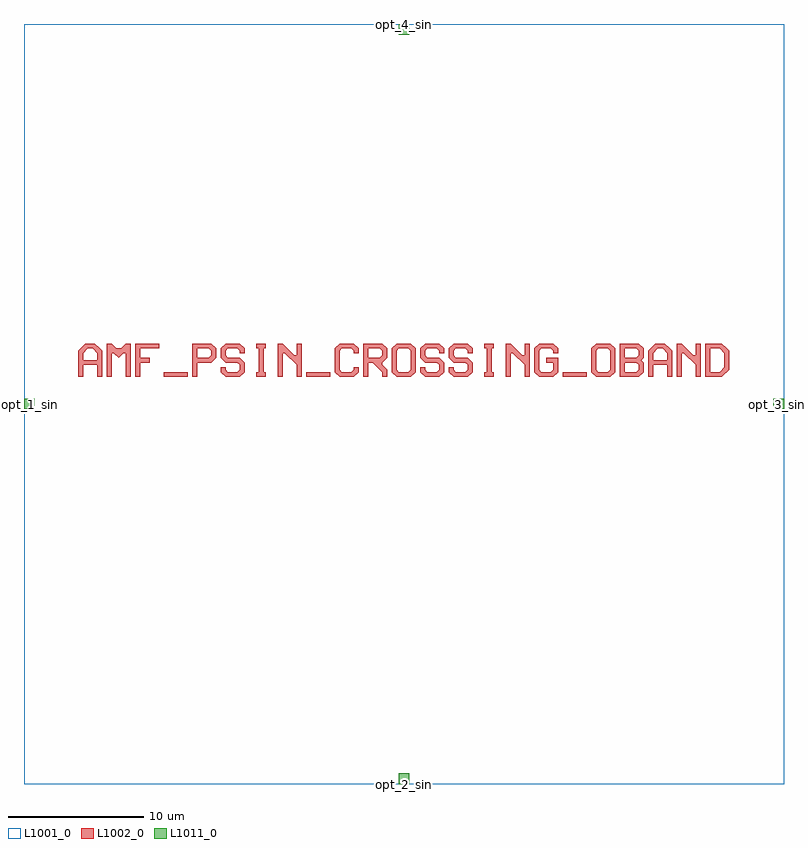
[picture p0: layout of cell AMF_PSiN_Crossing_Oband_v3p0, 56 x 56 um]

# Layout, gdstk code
import gdstk
lib = gdstk.Library(unit=1e-6, precision=1e-09)
def R(c, l, rs):  # rectangles x0, y0, x1, y1
    for r in rs: c.add(gdstk.rectangle(r[:2], r[2:], *l))
def P(c, l, *ps):  # polygons
    for p in ps: c.add(gdstk.Polygon(p, *l))
L1001_0 = (1001, 0)
L1002_0 = (1002, 0)
L1011_0 = (1011, 0)

amf_psin_crossing_oband_ = lib.new_cell('AMF_PSiN_Crossing_Oband_v3p0')
R(amf_psin_crossing_oband_, L1001_0, [(0,-28,56,28)])
R(amf_psin_crossing_oband_, L1002_0, [(10.3,2,12.05,2.35), (20.8,2,22.55,2.35), (39.7,2,41.45,2.35)])
P(amf_psin_crossing_oband_, L1002_0, [(4,2),(4,3.925),(4.525,4.45),(5.225,4.45),(5.575,4.1),(4.7,4.1),(4.35,3.75),(4.35,3.225),(5.4,3.225),(5.4,3.75),(5.05,4.1),(5.575,4.1),(5.75,3.925),(5.75,2),(5.4,2),(5.4,2.875),(4.35,2.875),(4.35,2)],
  [(6.1,2),(6.1,4.45),(6.45,4.45),(6.8,4.1),(7.15,4.1),(7.5,4.45),(7.85,4.45),(7.85,2),(7.5,2),(7.5,3.75),(7.325,3.75),(6.975,3.4),(6.625,3.75),(6.45,3.75),(6.45,2)],
  [(8.2,2),(8.2,4.45),(9.95,4.45),(9.95,4.1),(8.55,4.1),(8.55,3.4),(9.25,3.4),(9.25,3.05),(8.55,3.05),(8.55,2)],
  [(12.4,2),(12.4,4.45),(13.8,4.45),(14.15,4.1),(14.15,3.4),(13.8,3.05),(12.75,3.05),(12.75,3.4),(13.625,3.4),(13.8,3.575),(13.8,3.925),(13.625,4.1),(12.75,4.1),(12.75,2)],
  [(14.85,2),(14.5,2.35),(14.5,2.7),(14.85,2.7),(14.85,2.525),(15.025,2.35),(15.725,2.35),(15.9,2.525),(15.9,2.875),(15.725,3.05),(14.85,3.05),(14.5,3.4),(14.5,4.1),(14.85,4.45),(15.9,4.45),(16.25,4.1),(16.25,3.75),(15.9,3.75),(15.9,3.925),(15.725,4.1),(15.025,4.1),(14.85,3.925),(14.85,3.575),(15.025,3.4),(15.9,3.4),(16.25,3.05),(16.25,2.35),(15.9,2)],
  [(17.125,2),(17.125,2.35),(17.3,2.35),(17.3,4.1),(17.125,4.1),(17.125,4.45),(17.825,4.45),(17.825,4.1),(17.65,4.1),(17.65,2.35),(17.825,2.35),(17.825,2)],
  [(18.7,2),(18.7,4.45),(19.05,4.45),(19.925,3.575),(20.1,3.575),(20.1,4.45),(20.45,4.45),(20.45,2),(20.1,2),(20.1,2.875),(19.225,3.75),(19.05,3.75),(19.05,2)],
  [(23.25,2),(22.9,2.35),(22.9,4.1),(23.25,4.45),(24.3,4.45),(24.65,4.1),(24.65,3.75),(24.3,3.75),(24.3,3.925),(24.125,4.1),(23.425,4.1),(23.25,3.925),(23.25,2.525),(23.425,2.35),(24.125,2.35),(24.3,2.525),(24.3,2.7),(24.65,2.7),(24.65,2.35),(24.3,2)],
  [(25,2),(25,4.45),(26.4,4.45),(26.75,4.1),(25.35,4.1),(25.35,3.4),(26.225,3.4),(26.4,3.575),(26.4,3.925),(26.225,4.1),(26.75,4.1),(26.75,3.4),(26.4,3.05),(26.4,2.875),(26.75,2.525),(26.75,2),(26.4,2),(26.4,2.35),(25.7,3.05),(25.35,3.05),(25.35,2)],
  [(27.45,2),(27.1,2.35),(27.1,4.1),(27.45,4.45),(28.5,4.45),(28.85,4.1),(28.85,3.225),(28.5,3.225),(28.5,3.925),(28.325,4.1),(27.625,4.1),(27.45,3.925),(27.45,2.525),(27.625,2.35),(28.325,2.35),(28.5,2.525),(28.5,3.225),(28.85,3.225),(28.85,2.35),(28.5,2)],
  [(29.55,2),(29.2,2.35),(29.2,2.7),(29.55,2.7),(29.55,2.525),(29.725,2.35),(30.425,2.35),(30.6,2.525),(30.6,2.875),(30.425,3.05),(29.55,3.05),(29.2,3.4),(29.2,4.1),(29.55,4.45),(30.6,4.45),(30.95,4.1),(30.95,3.75),(30.6,3.75),(30.6,3.925),(30.425,4.1),(29.725,4.1),(29.55,3.925),(29.55,3.575),(29.725,3.4),(30.6,3.4),(30.95,3.05),(30.95,2.35),(30.6,2)],
  [(31.65,2),(31.3,2.35),(31.3,2.7),(31.65,2.7),(31.65,2.525),(31.825,2.35),(32.525,2.35),(32.7,2.525),(32.7,2.875),(32.525,3.05),(31.65,3.05),(31.3,3.4),(31.3,4.1),(31.65,4.45),(32.7,4.45),(33.05,4.1),(33.05,3.75),(32.7,3.75),(32.7,3.925),(32.525,4.1),(31.825,4.1),(31.65,3.925),(31.65,3.575),(31.825,3.4),(32.7,3.4),(33.05,3.05),(33.05,2.35),(32.7,2)],
  [(33.925,2),(33.925,2.35),(34.1,2.35),(34.1,4.1),(33.925,4.1),(33.925,4.45),(34.625,4.45),(34.625,4.1),(34.45,4.1),(34.45,2.35),(34.625,2.35),(34.625,2)],
  [(35.5,2),(35.5,4.45),(35.85,4.45),(36.725,3.575),(36.9,3.575),(36.9,4.45),(37.25,4.45),(37.25,2),(36.9,2),(36.9,2.875),(36.025,3.75),(35.85,3.75),(35.85,2)],
  [(37.95,2),(37.6,2.35),(37.6,4.1),(37.95,4.45),(39,4.45),(39.35,4.1),(39.35,3.75),(39,3.75),(39,3.925),(38.825,4.1),(38.125,4.1),(37.95,3.925),(37.95,2.525),(38.125,2.35),(38.825,2.35),(39,2.525),(39,3.05),(38.475,3.05),(38.475,3.4),(39.35,3.4),(39.35,2.35),(39,2)],
  [(42.15,2),(41.8,2.35),(41.8,4.1),(42.15,4.45),(43.2,4.45),(43.55,4.1),(43.55,3.225),(43.2,3.225),(43.2,3.925),(43.025,4.1),(42.325,4.1),(42.15,3.925),(42.15,2.525),(42.325,2.35),(43.025,2.35),(43.2,2.525),(43.2,3.225),(43.55,3.225),(43.55,2.35),(43.2,2)],
  [(43.9,2),(43.9,4.45),(45.3,4.45),(45.65,4.1),(44.25,4.1),(44.25,3.4),(45.125,3.4),(45.3,3.575),(45.3,3.925),(45.125,4.1),(45.65,4.1),(45.65,3.4),(45.475,3.225),(45.65,3.05),(44.25,3.05),(44.25,2.35),(45.125,2.35),(45.3,2.525),(45.3,2.875),(45.125,3.05),(45.65,3.05),(45.65,2.35),(45.3,2)],
  [(46,2),(46,3.925),(46.525,4.45),(47.225,4.45),(47.575,4.1),(46.7,4.1),(46.35,3.75),(46.35,3.225),(47.4,3.225),(47.4,3.75),(47.05,4.1),(47.575,4.1),(47.75,3.925),(47.75,2),(47.4,2),(47.4,2.875),(46.35,2.875),(46.35,2)],
  [(48.1,2),(48.1,4.45),(48.45,4.45),(49.325,3.575),(49.5,3.575),(49.5,4.45),(49.85,4.45),(49.85,2),(49.5,2),(49.5,2.875),(48.625,3.75),(48.45,3.75),(48.45,2)],
  [(50.2,2),(50.2,4.45),(51.425,4.45),(51.775,4.1),(50.55,4.1),(50.55,2.35),(51.25,2.35),(51.6,2.7),(51.6,3.75),(51.25,4.1),(51.775,4.1),(51.95,3.925),(51.95,2.525),(51.425,2)])
R(amf_psin_crossing_oband_, L1011_0, [(27.6,-28,28.4,-27.2), (0,-0.4,0.8,0.4), (55.2,-0.4,56,0.4), (27.6,27.2,28.4,28)])
amf_psin_crossing_oband_.add(gdstk.Label('opt_3_sin', (56,0), layer=1011, texttype=0))
amf_psin_crossing_oband_.add(gdstk.Label('opt_4_sin', (28,28), layer=1011, texttype=0))
amf_psin_crossing_oband_.add(gdstk.Label('opt_2_sin', (28,-28), layer=1011, texttype=0))
amf_psin_crossing_oband_.add(gdstk.Label('opt_1_sin', (0,0), layer=1011, texttype=0))

lib.write_gds('AMF_PSiN_Crossing_Oband_v3p0.gds')
